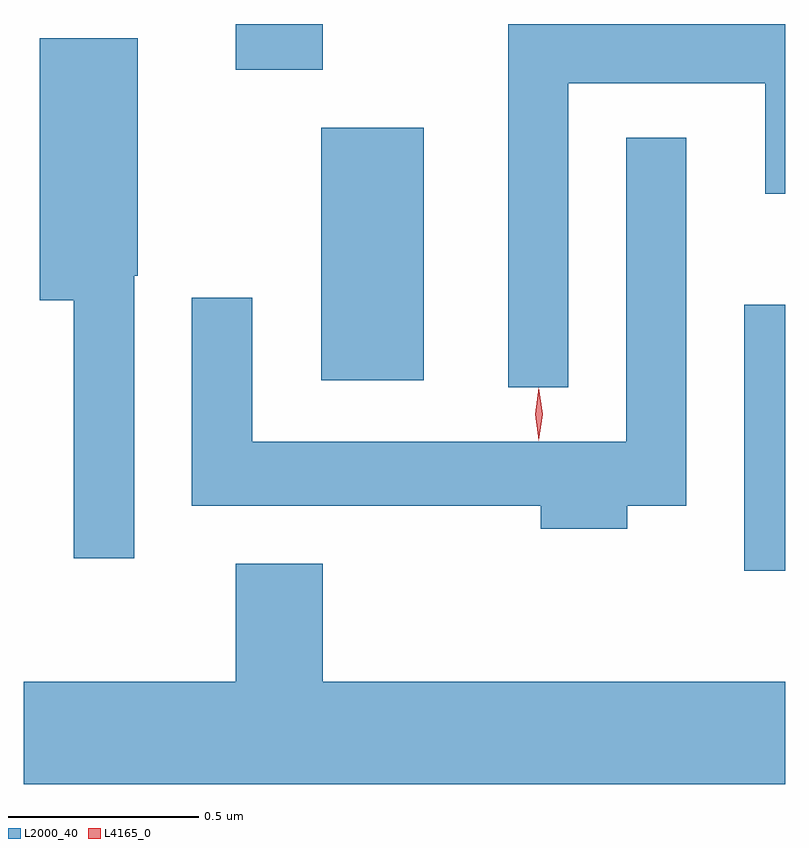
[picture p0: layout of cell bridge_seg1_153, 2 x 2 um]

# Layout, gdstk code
import gdstk
lib = gdstk.Library(unit=1e-6, precision=1e-09)
def R(c, l, rs):  # rectangles x0, y0, x1, y1
    for r in rs: c.add(gdstk.rectangle(r[:2], r[2:], *l))
def P(c, l, *ps):  # polygons
    for p in ps: c.add(gdstk.Polygon(p, *l))
L2000_40 = (2000, 40)
L4165_0 = (4165, 0)

bridge_seg1_153 = lib.new_cell('bridge_seg1_153')
R(bridge_seg1_153, L2000_40, [(856.846,909.016,856.954,909.714), (855.736,909.516,856.004,910.179), (855.511,910.331,855.739,910.451)])
P(bridge_seg1_153, L2000_40, [(856.384,910.296),(856.901,910.296),(856.901,910.006),(856.954,910.006),(856.954,910.451),(856.226,910.451),(856.226,909.498),(856.384,909.498)],
  [(855.244,909.79),(855.254,909.79),(855.254,910.414),(854.996,910.414),(854.996,909.726),(855.086,909.726),(855.086,909.048),(855.244,909.048)],
  [(856.539,909.186),(856.694,909.186),(856.694,910.153),(856.536,910.153),(856.536,909.354),(855.554,909.354),(855.554,909.733),(855.396,909.733),(855.396,909.186),(856.311,909.186),(856.311,909.126),(856.539,909.126)],
  [(856.954,908.724),(855.739,908.724),(855.739,909.034),(855.511,909.034),(855.511,908.724),(854.954,908.724),(854.954,908.456),(856.954,908.456)])
P(bridge_seg1_153, L4165_0, [(856.307,909.357),(856.306,909.358),(856.297,909.427),(856.306,909.496),(856.306,909.496),(856.307,909.496),(856.317,909.427),(856.307,909.358)])

lib.write_gds('bridge_seg1_153.gds')
